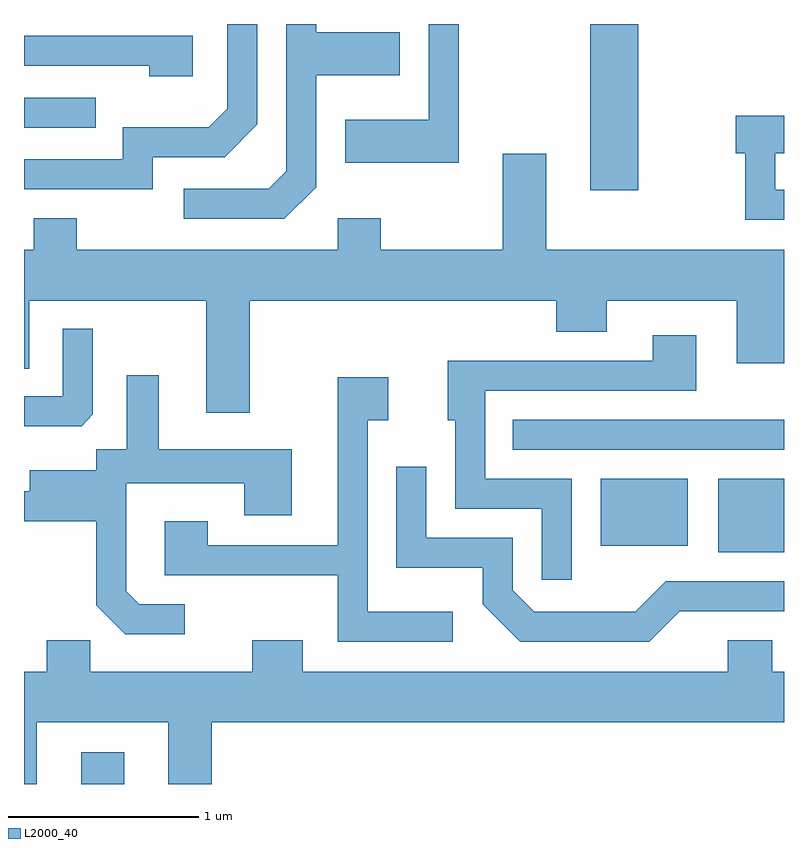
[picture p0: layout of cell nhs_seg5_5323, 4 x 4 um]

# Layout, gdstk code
import gdstk
lib = gdstk.Library(unit=1e-6, precision=1e-09)
def R(c, l, rs):  # rectangles x0, y0, x1, y1
    for r in rs: c.add(gdstk.rectangle(r[:2], r[2:], *l))
def P(c, l, *ps):  # polygons
    for p in ps: c.add(gdstk.Polygon(p, *l))
L2000_40 = (2000, 40)

nhs_seg5_5323 = lib.new_cell('nhs_seg5_5323')
R(nhs_seg5_5323, L2000_40, [(343.911,1412.072,344.139,1412.239), (347.266,1413.291,347.611,1413.679), (346.646,1413.326,347.104,1413.679), (346.183,1413.831,347.611,1413.989), (346.591,1415.196,346.844,1416.072), (343.611,1415.526,343.988,1415.684)])
P(nhs_seg5_5323, L2000_40, [(344.289,1415.371),(344.667,1415.371),(344.839,1415.544),(344.839,1416.072),(344.681,1416.072),(344.681,1415.627),(344.584,1415.529),(344.131,1415.529),(344.131,1415.359),(343.611,1415.359),(343.611,1415.201),(344.289,1415.201)],
  [(345.899,1416.072),(345.741,1416.072),(345.741,1415.569),(345.301,1415.569),(345.301,1415.341),(345.899,1415.341)],
  [(345.149,1415.214),(345.149,1415.801),(345.589,1415.801),(345.589,1416.029),(345.149,1416.029),(345.149,1416.072),(344.991,1416.072),(344.991,1415.297),(344.899,1415.204),(344.453,1415.204),(344.453,1415.046),(344.982,1415.046)],
  [(344.499,1416.009),(343.611,1416.009),(343.611,1415.851),(344.271,1415.851),(344.271,1415.796),(344.499,1415.796)],
  [(347.611,1415.199),(347.564,1415.199),(347.564,1415.391),(347.611,1415.391),(347.611,1415.589),(347.356,1415.589),(347.356,1415.391),(347.406,1415.391),(347.406,1415.041),(347.611,1415.041)],
  [(344.799,1414.616),(346.411,1414.616),(346.411,1414.451),(346.679,1414.451),(346.679,1414.616),(347.361,1414.616),(347.361,1414.286),(347.611,1414.286),(347.611,1414.884),(346.359,1414.884),(346.359,1415.389),(346.131,1415.389),(346.131,1414.884),(345.489,1414.884),(345.489,1415.049),(345.261,1415.049),(345.261,1414.884),(343.889,1414.884),(343.889,1415.049),(343.661,1415.049),(343.661,1414.884),(343.611,1414.884),(343.611,1414.258),(343.639,1414.258),(343.639,1414.616),(344.571,1414.616),(344.571,1414.026),(344.799,1414.026)],
  [(343.974,1414.017),(343.974,1414.468),(343.816,1414.468),(343.816,1414.114),(343.611,1414.114),(343.611,1413.956),(343.914,1413.956)],
  [(346.494,1413.679),(346.039,1413.679),(346.039,1414.141),(347.149,1414.141),(347.149,1414.434),(346.921,1414.434),(346.921,1414.299),(345.841,1414.299),(345.841,1413.986),(345.881,1413.986),(345.881,1413.521),(346.336,1413.521),(346.336,1413.148),(346.494,1413.148)],
  [(344.458,1413.019),(344.217,1413.019),(344.149,1413.087),(344.149,1413.656),(344.771,1413.656),(344.771,1413.486),(345.019,1413.486),(345.019,1413.834),(344.319,1413.834),(344.319,1414.223),(344.151,1414.223),(344.151,1413.834),(343.991,1413.834),(343.991,1413.724),(343.641,1413.724),(343.641,1413.614),(343.611,1413.614),(343.611,1413.456),(343.991,1413.456),(343.991,1413.014),(344.144,1412.861),(344.458,1412.861)],
  [(345.868,1412.979),(345.419,1412.979),(345.419,1413.986),(345.529,1413.986),(345.529,1414.214),(345.261,1414.214),(345.261,1413.329),(344.579,1413.329),(344.579,1413.454),(344.351,1413.454),(344.351,1413.171),(345.261,1413.171),(345.261,1412.821),(345.868,1412.821)],
  [(347.062,1412.981),(347.611,1412.981),(347.611,1413.139),(346.989,1413.139),(346.829,1412.979),(346.297,1412.979),(346.184,1413.092),(346.184,1413.369),(345.729,1413.369),(345.729,1413.743),(345.571,1413.743),(345.571,1413.211),(346.026,1413.211),(346.026,1413.019),(346.224,1412.821),(346.902,1412.821)],
  [(343.679,1412.396),(344.371,1412.396),(344.371,1412.072),(344.599,1412.072),(344.599,1412.396),(347.611,1412.396),(347.611,1412.664),(347.549,1412.664),(347.549,1412.829),(347.316,1412.829),(347.316,1412.664),(345.079,1412.664),(345.079,1412.829),(344.811,1412.829),(344.811,1412.664),(343.959,1412.664),(343.959,1412.829),(343.731,1412.829),(343.731,1412.664),(343.611,1412.664),(343.611,1412.072),(343.679,1412.072)])

lib.write_gds('nhs_seg5_5323.gds')
